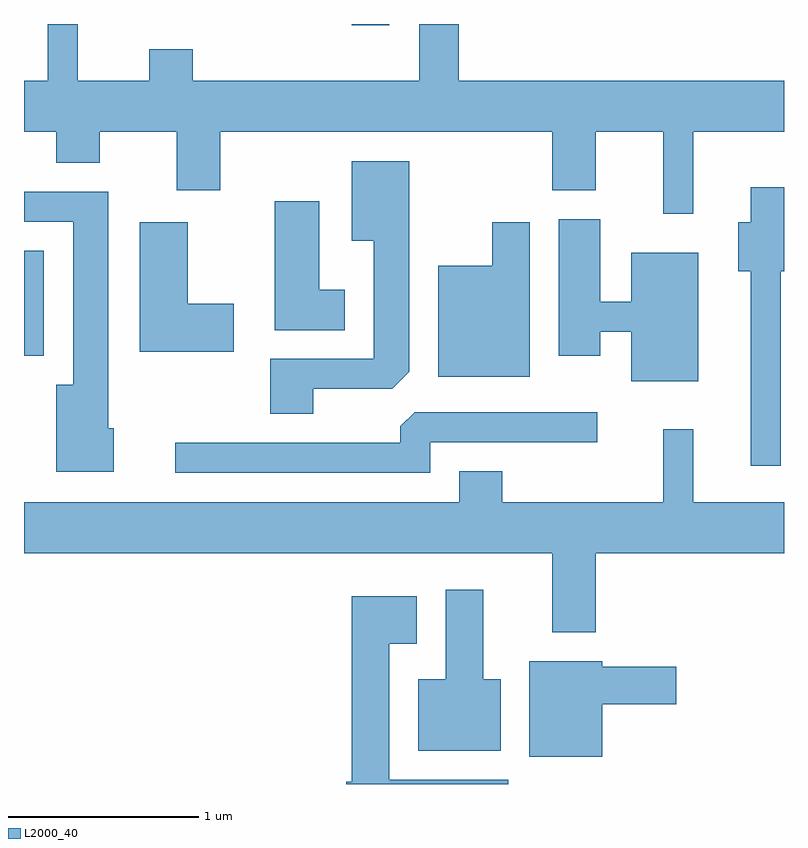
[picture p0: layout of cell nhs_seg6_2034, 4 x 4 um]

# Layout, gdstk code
import gdstk
lib = gdstk.Library(unit=1e-6, precision=1e-09)
def R(c, l, rs):  # rectangles x0, y0, x1, y1
    for r in rs: c.add(gdstk.rectangle(r[:2], r[2:], *l))
def P(c, l, *ps):  # polygons
    for p in ps: c.add(gdstk.Polygon(p, *l))
L2000_40 = (2000, 40)

nhs_seg6_2034 = lib.new_cell('nhs_seg6_2034')
R(nhs_seg6_2034, L2000_40, [(247.611,1544.416,247.714,1544.969), (249.336,1546.156,249.534,1546.162)])
P(nhs_seg6_2034, L2000_40, [(251.134,1545.596),(251.611,1545.596),(251.611,1545.864),(249.899,1545.864),(249.899,1546.162),(249.691,1546.162),(249.691,1545.864),(248.499,1545.864),(248.499,1546.029),(248.271,1546.029),(248.271,1545.864),(247.894,1545.864),(247.894,1546.162),(247.736,1546.162),(247.736,1545.864),(247.611,1545.864),(247.611,1545.596),(247.781,1545.596),(247.781,1545.431),(248.009,1545.431),(248.009,1545.596),(248.416,1545.596),(248.416,1545.286),(248.644,1545.286),(248.644,1545.596),(250.391,1545.596),(250.391,1545.286),(250.619,1545.286),(250.619,1545.596),(250.976,1545.596),(250.976,1545.163),(251.134,1545.163)],
  [(249.134,1544.241),(249.549,1544.241),(249.639,1544.332),(249.639,1545.439),(249.336,1545.439),(249.336,1545.021),(249.451,1545.021),(249.451,1544.399),(248.906,1544.399),(248.906,1544.111),(249.134,1544.111)],
  [(251.594,1544.861),(251.611,1544.861),(251.611,1545.304),(251.436,1545.304),(251.436,1545.119),(251.371,1545.119),(251.371,1544.861),(251.436,1544.861),(251.436,1543.838),(251.594,1543.838)],
  [(248.084,1544.034),(248.054,1544.034),(248.054,1545.279),(247.611,1545.279),(247.611,1545.121),(247.871,1545.121),(247.871,1544.264),(247.781,1544.264),(247.781,1543.806),(248.084,1543.806)],
  [(249.299,1544.764),(249.164,1544.764),(249.164,1545.229),(248.931,1545.229),(248.931,1544.551),(249.299,1544.551)],
  [(251.159,1544.959),(250.806,1544.959),(250.806,1544.699),(250.644,1544.699),(250.644,1545.134),(250.426,1545.134),(250.426,1544.416),(250.644,1544.416),(250.644,1544.541),(250.806,1544.541),(250.806,1544.281),(251.159,1544.281)],
  [(248.714,1544.689),(248.474,1544.689),(248.474,1545.119),(248.221,1545.119),(248.221,1544.436),(248.714,1544.436)],
  [(250.274,1545.119),(250.076,1545.119),(250.076,1544.889),(249.791,1544.889),(249.791,1544.306),(250.274,1544.306)],
  [(249.749,1543.961),(250.628,1543.961),(250.628,1544.119),(249.667,1544.119),(249.591,1544.044),(249.591,1543.959),(248.408,1543.959),(248.408,1543.801),(249.749,1543.801)],
  [(250.619,1543.376),(251.611,1543.376),(251.611,1543.644),(251.134,1543.644),(251.134,1544.028),(250.976,1544.028),(250.976,1543.644),(250.129,1543.644),(250.129,1543.809),(249.901,1543.809),(249.901,1543.644),(247.611,1543.644),(247.611,1543.376),(250.391,1543.376),(250.391,1542.961),(250.619,1542.961)],
  [(250.119,1542.714),(250.029,1542.714),(250.029,1543.184),(249.831,1543.184),(249.831,1542.714),(249.686,1542.714),(249.686,1542.336),(250.119,1542.336)],
  [(250.159,1542.184),(249.534,1542.184),(249.534,1542.901),(249.679,1542.901),(249.679,1543.149),(249.336,1543.149),(249.336,1542.174),(249.306,1542.174),(249.306,1542.162),(250.159,1542.162)],
  [(250.654,1542.581),(251.044,1542.581),(251.044,1542.779),(250.654,1542.779),(250.654,1542.809),(250.271,1542.809),(250.271,1542.306),(250.654,1542.306)])

lib.write_gds('nhs_seg6_2034.gds')
